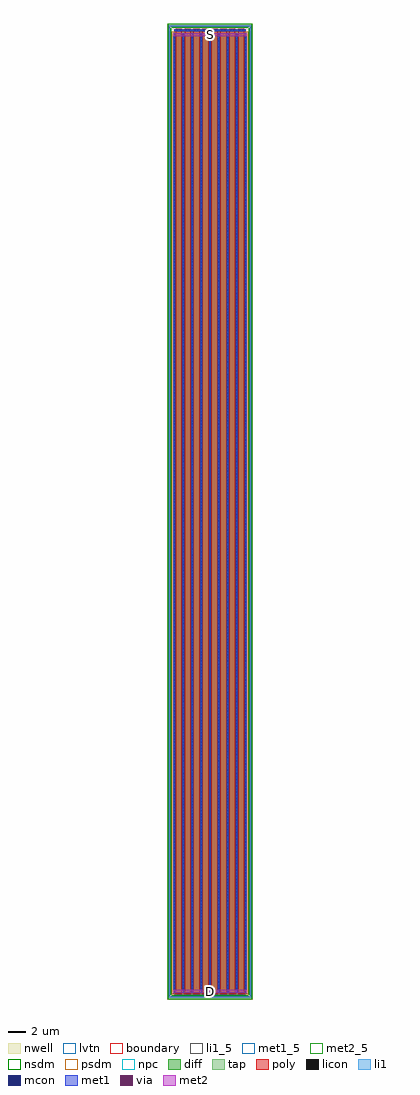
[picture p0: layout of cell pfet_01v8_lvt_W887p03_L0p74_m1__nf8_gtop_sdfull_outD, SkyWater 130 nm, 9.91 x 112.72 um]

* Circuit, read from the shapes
.subckt pfet_01v8_lvt_W887p03_L0p74_m1__nf8_gtop_sdfull_outD B D G S
XM1 S G D B sky130_fd_pr__pfet_01v8_lvt w=110.88 l=0.74 m=8
.ends

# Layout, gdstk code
import gdstk
lib = gdstk.Library(unit=1e-6, precision=1e-09)
def R(c, l, rs):  # rectangles x0, y0, x1, y1
    for r in rs: c.add(gdstk.rectangle(r[:2], r[2:], *l))
def A(c, l, x, y, w, h, nx, ny, dx, dy):  # array of equal rectangles
    R(c, l, [(x+i*dx, y+j*dy, x+i*dx+w, y+j*dy+h) for i in range(nx) for j in range(ny)])
nwell = (64, 20)
diff = (65, 20)
tap = (65, 44)
poly = (66, 20)
licon = (66, 44)
li1_5 = (67, 5)
li1 = (67, 20)
mcon = (67, 44)
met1_5 = (68, 5)
met1 = (68, 20)
via = (68, 44)
met2_5 = (69, 5)
met2 = (69, 20)
nsdm = (93, 44)
psdm = (94, 20)
npc = (95, 20)
lvtn = (125, 44)
boundary = (235, 4)

sky130_fd_pr__pfet_01v8_ = lib.new_cell('sky130_fd_pr__pfet_01v8_lvt_D7GU4R')
R(sky130_fd_pr__pfet_01v8_, nwell, [(-4.955,-56.36,4.955,56.36)])
R(sky130_fd_pr__pfet_01v8_, diff, [(-4.265,-55.62,4.265,55.26)])
R(sky130_fd_pr__pfet_01v8_, tap, [(-4.775,-56.18,4.775,-56.01), (-4.775,-56.01,-4.605,56.01), (4.605,-56.01,4.775,56.01), (-4.775,56.01,4.775,56.18)])
A(sky130_fd_pr__pfet_01v8_, poly, -3.975, -55.75, 0.74, 111.495, 8, 1, 1.03, 0)
A(sky130_fd_pr__pfet_01v8_, licon, -4.165, -56.18, 0.17, 0.17, 25, 2, 0.34, 112.19)
A(sky130_fd_pr__pfet_01v8_, licon, -4.775, -55.675, 0.17, 0.17, 1, 328, 0, 0.34)
A(sky130_fd_pr__pfet_01v8_, licon, 4.605, -55.675, 0.17, 0.17, 1, 328, 0, 0.34)
A(sky130_fd_pr__pfet_01v8_, licon, -4.205, -55.515, 0.17, 0.17, 9, 326, 1.03, 0.34)
R(sky130_fd_pr__pfet_01v8_, licon, [(-3.86,55.495,-3.69,55.665), (-3.52,55.495,-3.35,55.665), (-2.83,55.495,-2.66,55.665), (-2.49,55.495,-2.32,55.665), (-1.8,55.495,-1.63,55.665), (-1.46,55.495,-1.29,55.665), (-0.77,55.495,-0.6,55.665), (-0.43,55.495,-0.26,55.665), (0.26,55.495,0.43,55.665), (0.6,55.495,0.77,55.665), (1.29,55.495,1.46,55.665), (1.63,55.495,1.8,55.665), (2.32,55.495,2.49,55.665), (2.66,55.495,2.83,55.665), (3.35,55.495,3.52,55.665), (3.69,55.495,3.86,55.665)])
A(sky130_fd_pr__pfet_01v8_, li1, -4.205, -55.64, 0.17, 110.92, 9, 1, 1.03, 0)
R(sky130_fd_pr__pfet_01v8_, li1, [(-4.775,-56.18,4.775,-56.01), (-4.775,-56.01,-4.605,56.01), (4.605,-56.01,4.775,56.01), (-4.12,55.495,4.12,55.665), (-4.775,56.01,4.775,56.18)])
A(sky130_fd_pr__pfet_01v8_, mcon, -4.205, -55.525, 0.17, 0.17, 9, 308, 1.03, 0.36)
R(sky130_fd_pr__pfet_01v8_, mcon, [(-3.87,55.495,-3.7,55.665), (-3.51,55.495,-3.34,55.665), (-2.84,55.495,-2.67,55.665), (-2.48,55.495,-2.31,55.665), (-1.81,55.495,-1.64,55.665), (-1.45,55.495,-1.28,55.665), (-0.78,55.495,-0.61,55.665), (-0.42,55.495,-0.25,55.665), (0.25,55.495,0.42,55.665), (0.61,55.495,0.78,55.665), (1.28,55.495,1.45,55.665), (1.64,55.495,1.81,55.665), (2.31,55.495,2.48,55.665), (2.67,55.495,2.84,55.665), (3.34,55.495,3.51,55.665), (3.7,55.495,3.87,55.665)])
A(sky130_fd_pr__pfet_01v8_, met1, -4.235, -55.62, 0.23, 110.88, 9, 1, 1.03, 0)
A(sky130_fd_pr__pfet_01v8_, met1, -3.955, 55.465, 0.7, 0.03, 8, 2, 1.03, 0.2)
R(sky130_fd_pr__pfet_01v8_, met1, [(-4.12,55.495,4.12,55.665)])
R(sky130_fd_pr__pfet_01v8_, nsdm, [(-4.9,-56.305,4.9,-55.885), (-4.9,-55.885,-4.48,55.885), (4.48,-55.885,4.9,55.885), (-4.9,55.885,4.9,56.305)])
R(sky130_fd_pr__pfet_01v8_, psdm, [(-4.39,-55.745,4.39,55.385)])
A(sky130_fd_pr__pfet_01v8_, npc, -3.96, 55.395, 0.71, 0.37, 8, 1, 1.03, 0)
R(sky130_fd_pr__pfet_01v8_, lvtn, [(-4.155,-55.8,4.155,55.44)])
R(sky130_fd_pr__pfet_01v8_, boundary, [(-4.69,-56.095,4.69,56.095)])
sky130_fd_pr__pfet_01v8_.add(gdstk.Label('B', (0,-56.095), layer=67, texttype=5))
sky130_fd_pr__pfet_01v8_.add(gdstk.Label('D0', (-4.12,-0.18), layer=67, texttype=5))
sky130_fd_pr__pfet_01v8_.add(gdstk.Label('G', (3.605,55.58), layer=67, texttype=5))
sky130_fd_pr__pfet_01v8_.add(gdstk.Label('G', (2.575,55.58), layer=67, texttype=5))
sky130_fd_pr__pfet_01v8_.add(gdstk.Label('G', (1.545,55.58), layer=67, texttype=5))
sky130_fd_pr__pfet_01v8_.add(gdstk.Label('G', (0.515,55.58), layer=67, texttype=5))
sky130_fd_pr__pfet_01v8_.add(gdstk.Label('G', (-0.515,55.58), layer=67, texttype=5))
sky130_fd_pr__pfet_01v8_.add(gdstk.Label('G', (-1.545,55.58), layer=67, texttype=5))
sky130_fd_pr__pfet_01v8_.add(gdstk.Label('G', (-2.575,55.58), layer=67, texttype=5))
sky130_fd_pr__pfet_01v8_.add(gdstk.Label('G', (-3.605,55.58), layer=67, texttype=5))
sky130_fd_pr__pfet_01v8_.add(gdstk.Label('S1', (-3.09,-0.18), layer=67, texttype=5))
sky130_fd_pr__pfet_01v8_.add(gdstk.Label('D2', (-2.06,-0.18), layer=67, texttype=5))
sky130_fd_pr__pfet_01v8_.add(gdstk.Label('S3', (-1.03,-0.18), layer=67, texttype=5))
sky130_fd_pr__pfet_01v8_.add(gdstk.Label('D4', (0,-0.18), layer=67, texttype=5))
sky130_fd_pr__pfet_01v8_.add(gdstk.Label('S5', (1.03,-0.18), layer=67, texttype=5))
sky130_fd_pr__pfet_01v8_.add(gdstk.Label('D6', (2.06,-0.18), layer=67, texttype=5))
sky130_fd_pr__pfet_01v8_.add(gdstk.Label('S7', (3.09,-0.18), layer=67, texttype=5))

pfet_01v8_lvt_w887p03_l0 = lib.new_cell('pfet_01v8_lvt_W887p03_L0p74_m1__nf8_gtop_sdfull_outD')
R(pfet_01v8_lvt_w887p03_l0, li1_5, [(4.605,-0.085,4.775,0.085)])
R(pfet_01v8_lvt_w887p03_l0, li1, [(4.605,-0.085,4.775,0.085)])
R(pfet_01v8_lvt_w887p03_l0, met1_5, [(0.57,111.56,8.81,111.79)])
A(pfet_01v8_lvt_w887p03_l0, met1, 0.44, 0.525, 0.26, 0.32, 5, 1, 2.06, 0)
A(pfet_01v8_lvt_w887p03_l0, met1, 1.47, 110.985, 0.26, 0.32, 4, 1, 2.06, 0)
R(pfet_01v8_lvt_w887p03_l0, met1, [(0.57,111.56,8.81,111.79)])
A(pfet_01v8_lvt_w887p03_l0, via, 0.495, 0.61, 0.15, 0.15, 5, 1, 2.06, 0)
A(pfet_01v8_lvt_w887p03_l0, via, 1.525, 111.07, 0.15, 0.15, 4, 1, 2.06, 0)
R(pfet_01v8_lvt_w887p03_l0, met2_5, [(0.435,0.525,8.945,0.845), (0.435,110.985,8.945,111.305)])
R(pfet_01v8_lvt_w887p03_l0, met2, [(0.435,0.525,8.945,0.845), (0.435,110.985,8.945,111.305)])
pfet_01v8_lvt_w887p03_l0.add(gdstk.Reference(sky130_fd_pr__pfet_01v8_, (4.69,56.095)))
pfet_01v8_lvt_w887p03_l0.add(gdstk.Label('S', (4.69,111.145), layer=69, texttype=5))
pfet_01v8_lvt_w887p03_l0.add(gdstk.Label('D', (4.69,0.685), layer=69, texttype=5))
pfet_01v8_lvt_w887p03_l0.add(gdstk.Label('G', (4.69,111.675), layer=68, texttype=5))
pfet_01v8_lvt_w887p03_l0.add(gdstk.Label('B', (4.69,0), layer=67, texttype=5))

lib.write_gds('pfet_01v8_lvt_W887p03_L0p74_m1__nf8_gtop_sdfull_outD.gds')
